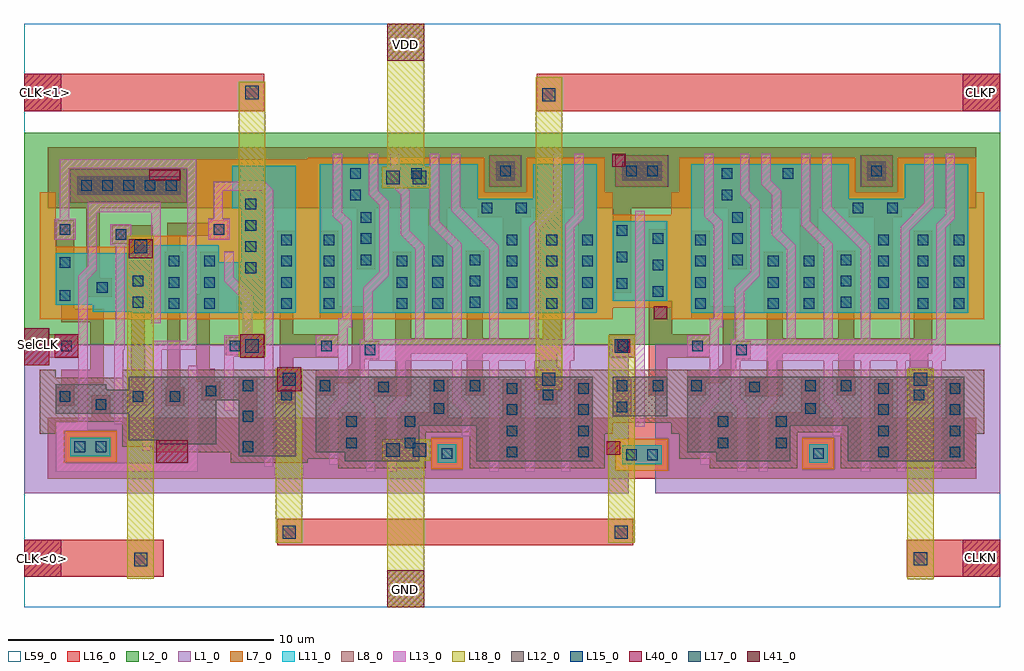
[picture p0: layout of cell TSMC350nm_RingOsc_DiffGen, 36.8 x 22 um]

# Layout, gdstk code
import gdstk
lib = gdstk.Library(unit=1e-6, precision=1e-09)
def R(c, l, rs):  # rectangles x0, y0, x1, y1
    for r in rs: c.add(gdstk.rectangle(r[:2], r[2:], *l))
def A(c, l, x, y, w, h, nx, ny, dx, dy):  # array of equal rectangles
    R(c, l, [(x+i*dx, y+j*dy, x+i*dx+w, y+j*dy+h) for i in range(nx) for j in range(ny)])
def P(c, l, *ps):  # polygons
    for p in ps: c.add(gdstk.Polygon(p, *l))
L1_0 = (1, 0)
L2_0 = (2, 0)
L7_0 = (7, 0)
L8_0 = (8, 0)
L11_0 = (11, 0)
L12_0 = (12, 0)
L13_0 = (13, 0)
L15_0 = (15, 0)
L16_0 = (16, 0)
L17_0 = (17, 0)
L18_0 = (18, 0)
L40_0 = (40, 0)
L41_0 = (41, 0)
L59_0 = (59, 0)

buf6 = lib.new_cell('BUF6')
R(buf6, L1_0, [(-1.6,-0.55,11.4,5.05)])
R(buf6, L2_0, [(-1.6,5.05,11.4,13.05)])
R(buf6, L7_0, [(3.95,0.35,5.15,1.55)])
P(buf6, L7_0, [(-1,6),(-1,10.8),(-0.7,10.8),(-0.7,12.1),(5.95,12.1),(5.95,10.8),(7.55,10.8),(7.55,12.1),(10.5,12.1),(10.5,10.8),(10.8,10.8),(10.8,6)])
R(buf6, L8_0, [(6.15,11,7.35,12.2)])
P(buf6, L8_0, [(0.45,0.4),(0.45,0.75),(-0.7,0.75),(-0.7,1.7),(-1,1.7),(-1,4.1),(10.8,4.1),(10.8,1.7),(10.5,1.7),(10.5,0.4),(5.4,0.4),(5.4,1.75),(3.75,1.75),(3.75,0.4)])
R(buf6, L11_0, [(4.2,0.6,4.9,1.3)])
P(buf6, L11_0, [(-0.25,6.25),(-0.25,11.85),(5.7,11.85),(5.7,10.55),(7.8,10.55),(7.8,11.85),(10.2,11.85),(10.2,6.25)])
R(buf6, L12_0, [(6.4,11.25,7.1,11.95)])
P(buf6, L12_0, [(0.7,0.65),(0.7,1),(-0.4,1),(-0.4,3.85),(10.05,3.85),(10.05,0.65),(5.65,0.65),(5.65,2),(3.5,2),(3.5,0.65)])
P(buf6, L13_0, [(0.1,0.525),(0.1,2.7),(0.45,3.05),(0.45,4.6),(-0.4,4.6),(-0.4,5.4),(0.45,5.4),(0.45,6.05),(0.6,6.05),(0.6,9.55),(0.25,9.9),(0.25,12.25),(0.6,12.25),(0.6,10.05),(0.95,9.7),(0.95,5.7),(0.8,5.7),(0.8,2.9),(0.45,2.55),(0.45,0.525)],
  [(1.5,0.25),(1.5,2.65),(1.25,2.9),(1.25,5.25),(1.4,5.25),(1.4,7.2),(2,7.8),(2,10.3),(1.6,10.7),(1.6,12.25),(1.95,12.25),(1.95,10.85),(2.35,10.45),(2.35,7.65),(1.75,7.05),(1.75,5.25),(3.35,5.25),(3.35,8.65),(2.8,9.2),(2.8,10.7),(2.4,11.1),(2.4,12.25),(2.75,12.25),(2.75,11.25),(3.15,10.85),(3.15,9.35),(3.7,8.8),(3.7,5.25),(4.75,5.25),(4.75,8.7),(3.9,9.55),(3.9,12.25),(4.25,12.25),(4.25,9.7),(5.1,8.85),(5.1,5.25),(6.15,5.25),(6.15,8.65),(4.7,10.1),(4.7,12.25),(5.05,12.25),(5.05,10.25),(6.5,8.8),(6.5,5.25),(7.65,5.25),(7.65,9.5),(8.55,10.4),(8.55,12.25),(8.9,12.25),(8.9,10.25),(8,9.35),(8,5.25),(9,5.25),(9,9.6),(9.35,9.95),(9.35,12.25),(9.7,12.25),(9.7,9.8),(9.35,9.45),(9.35,4.45),(9.2,4.45),(9.2,0.25),(8.85,0.25),(8.85,4.45),(7.85,4.45),(7.85,0.25),(7.5,0.25),(7.5,4.45),(6.5,4.45),(6.5,0.25),(6.15,0.25),(6.15,4.45),(5.1,4.45),(5.1,3.05),(5.45,2.7),(5.45,1.6),(5.1,1.6),(5.1,2.55),(4.75,2.9),(4.75,4.45),(3,4.45),(3,2.9),(2.65,2.55),(2.65,0.25),(2.3,0.25),(2.3,2.7),(2.65,3.05),(2.65,4.45),(1.6,4.45),(1.6,3.05),(1.85,2.8),(1.85,0.25)])
A(buf6, L15_0, 6.8, 0.8, 0.4, 0.4, 1, 4, 0, 0.8)
A(buf6, L15_0, 9.5, 0.8, 0.4, 0.4, 1, 4, 0, 0.8)
A(buf6, L15_0, -0.1, 6.4, 0.4, 0.4, 1, 4, 0, 0.8)
A(buf6, L15_0, 2.65, 6.4, 0.4, 0.4, 1, 3, 0, 0.8)
A(buf6, L15_0, 4, 6.4, 0.4, 0.4, 1, 3, 0, 0.8)
A(buf6, L15_0, 6.8, 6.4, 0.4, 0.4, 1, 4, 0, 0.8)
A(buf6, L15_0, 8.3, 6.4, 0.4, 0.4, 1, 4, 0, 0.8)
A(buf6, L15_0, 9.65, 6.4, 0.4, 0.4, 1, 4, 0, 0.8)
A(buf6, L15_0, 5.4, 6.45, 0.4, 0.4, 1, 3, 0, 0.8)
A(buf6, L15_0, 1.3, 8.05, 0.4, 0.4, 1, 3, 0, 0.8)
R(buf6, L15_0, [(4.35,0.75,4.75,1.15), (0.75,1.15,1.15,1.55), (2.95,1.15,3.35,1.55), (0.75,1.95,1.15,2.35), (2.95,1.95,3.35,2.35), (4.05,2.45,4.45,2.85), (8.15,2.95,8.55,3.35), (1.95,3.25,2.35,3.65), (-0.25,3.3,0.15,3.7), (4.05,3.3,4.45,3.7), (5.4,3.3,5.8,3.7), (1.45,4.65,1.85,5.05), (-0.2,4.8,0.2,5.2), (5.85,10,6.25,10.4), (7.15,10,7.55,10.4), (0.9,10.5,1.3,10.9), (0.9,11.3,1.3,11.7), (3.2,11.3,3.6,11.7), (6.55,11.4,6.95,11.8)])
R(buf6, L16_0, [(-0.45,4.55,0.45,5.45)])
P(buf6, L16_0, [(-0.4,3.15),(-0.4,4.1),(0.7,4.1),(0.95,4.35),(0.95,6),(-0.25,6),(-0.25,9.35),(0.45,9.35),(0.45,6.5),(1.45,6.5),(1.45,5.2),(2,5.2),(2,4.5),(1.45,4.5),(1.45,4.1),(0.95,3.6),(0.3,3.6),(0.3,3.15)],
  [(1.8,3.1),(1.8,3.8),(2.6,3.8),(2.6,6.25),(2.5,6.25),(2.5,8.55),(3.2,8.55),(3.2,5.3),(5.3,5.3),(5.3,6.3),(5.25,6.3),(5.25,8.6),(5.95,8.6),(5.95,6.3),(5.9,6.3),(5.9,5.3),(8.15,5.3),(8.15,9.35),(8.85,9.35),(8.85,4.7),(8.7,4.7),(8.7,4.2),(8.85,4.2),(8.85,3.3),(8.7,3.3),(8.7,2.8),(8,2.8),(8,3.3),(7.95,3.3),(7.95,4.2),(8,4.2),(8,4.7),(5.9,4.7),(5.9,3.85),(5.95,3.85),(5.95,3.15),(5.25,3.15),(5.25,3.85),(5.3,3.85),(5.3,4.7),(3.2,4.7),(3.2,3.1)],
  [(3.85,6.25),(3.85,10.2),(1.85,10.2),(1.85,7.9),(1.15,7.9),(1.15,10.2),(-0.7,10.2),(-0.7,12.5),(10.5,12.5),(10.5,10.2),(10.2,10.2),(10.2,6.25),(9.5,6.25),(9.5,10.2),(7.7,10.2),(7.7,9.85),(7.35,9.85),(7.35,6.25),(6.65,6.25),(6.65,9.85),(5.7,9.85),(5.7,10.2),(4.55,10.2),(4.55,6.25)],
  [(-0.7,0),(-0.7,2.3),(0.6,2.3),(0.6,2.5),(1.3,2.5),(1.3,2.3),(2.8,2.3),(2.8,2.5),(3.9,2.5),(3.9,3.85),(4.6,3.85),(4.6,2.3),(6.65,2.3),(6.65,3.75),(7.35,3.75),(7.35,2.3),(9.35,2.3),(9.35,3.75),(10.05,3.75),(10.05,2.3),(10.5,2.3),(10.5,0)])
buf6.add(gdstk.Label('BUF6', (-0.7,0), layer=62, texttype=0))
buf6.add(gdstk.Label('Z', (8.4,3.75), layer=40, texttype=0))
buf6.add(gdstk.Label('VDD', (0.075,11.375), layer=40, texttype=0))
buf6.add(gdstk.Label('VSS', (0.125,1.025), layer=40, texttype=0))
buf6.add(gdstk.Label('I', (0,5), layer=40, texttype=0))
buf6.add(gdstk.Label('& SerialNumber 000000', (0,0), layer=11, texttype=0))
buf6.add(gdstk.Label('& Distributor Vanguard', (0,0), layer=11, texttype=0))
buf6.add(gdstk.Label('& Metric 140.0', (0,0), layer=11, texttype=0))
buf6.add(gdstk.Label('& Version 400c', (0,0), layer=11, texttype=0))
buf6.add(gdstk.Label('& Product tcb773p', (0,0), layer=11, texttype=0))
buf6.add(gdstk.Label('& Vendor Taiwan Semiconductor Manufacturing Corp.', (0,0), layer=11, texttype=0))

inv0 = lib.new_cell('INV0')
R(inv0, L2_0, [(-1.6,5.05,3,13.05)])
R(inv0, L7_0, [(-0.3,0.3,1.7,1.5)])
P(inv0, L7_0, [(-1,6),(-1,10.8),(-0.4,10.8),(-0.4,9.95),(1.8,9.95),(1.8,10.8),(2.4,10.8),(2.4,6),(1.8,6),(1.8,6.45),(-0.4,6.45),(-0.4,6)])
R(inv0, L8_0, [(-0.3,11,1.7,12.2)])
P(inv0, L8_0, [(-1,1.7),(-1,4.1),(2.4,4.1),(2.4,1.7),(1.8,1.7),(1.8,2.1),(-0.4,2.1),(-0.4,1.7)])
R(inv0, L11_0, [(-0.05,0.55,1.45,1.25), (-0.4,6.7,1.65,9.7)])
R(inv0, L12_0, [(-0.4,2.35,1.65,3.85), (-0.05,11.25,1.45,11.95)])
P(inv0, L13_0, [(0.45,1.95),(0.45,4.6),(-0.4,4.6),(-0.4,5.4),(0.45,5.4),(0.45,10.1),(0.8,10.1),(0.8,1.95)])
A(inv0, L15_0, 1.1, 6.85, 0.4, 0.4, 1, 3, 0, 1)
A(inv0, L15_0, -0.25, 7.15, 0.4, 0.4, 1, 3, 0, 1)
R(inv0, L15_0, [(0.1,0.7,0.5,1.1), (0.9,0.7,1.3,1.1), (-0.25,2.5,0.15,2.9), (-0.25,3.3,0.15,3.7), (1.1,3.3,1.5,3.7), (-0.2,4.8,0.2,5.2), (0.1,11.4,0.5,11.8), (0.9,11.4,1.3,11.8)])
R(inv0, L16_0, [(-0.45,4.55,0.45,5.45)])
P(inv0, L16_0, [(0.95,3.15),(0.95,9.4),(1.65,9.4),(1.65,6.7),(1.85,6.7),(1.85,5.8),(1.65,5.8),(1.65,3.15)],
  [(-0.4,7),(-0.4,10.2),(-0.7,10.2),(-0.7,12.5),(2.1,12.5),(2.1,10.2),(0.3,10.2),(0.3,7)],
  [(-0.7,0),(-0.7,2.3),(-0.4,2.3),(-0.4,3.85),(0.3,3.85),(0.3,2.3),(2.1,2.3),(2.1,0)])
R(inv0, L40_0, [(-0.625,0.9,-0.125,1.4), (-0.25,4.75,0.25,5.25), (1.15,6,1.65,6.5), (-0.425,11.75,0.075,12.25)])
inv0.add(gdstk.Label('VSS', (-0.375,1.15), layer=40, texttype=0))
inv0.add(gdstk.Label('VDD', (-0.175,12), layer=40, texttype=0))
inv0.add(gdstk.Label('I', (0,5), layer=40, texttype=0))
inv0.add(gdstk.Label('ZN', (1.4,6.25), layer=40, texttype=0))

mux2d1 = lib.new_cell('MUX2D1')
R(mux2d1, L1_0, [(-1.6,-0.55,10,5.05)])
R(mux2d1, L2_0, [(-1.6,5.05,10,13.05)])
R(mux2d1, L7_0, [(-0.1,0.6,1.9,1.8)])
P(mux2d1, L7_0, [(-1,6),(-1,10.8),(-0.4,10.8),(-0.4,8.75),(2.4,8.75),(2.4,9.15),(4.9,9.15),(4.9,12.05),(9.1,12.05),(9.1,10.8),(9.4,10.8),(9.4,6)])
R(mux2d1, L8_0, [(0.1,10.4,4.55,11.7)])
P(mux2d1, L8_0, [(-1,1.7),(-1,4.1),(-0.4,4.1),(-0.4,3.8),(2.1,3.8),(2.1,4.1),(9.4,4.1),(9.4,1.7),(9.1,1.7),(9.1,0.6),(6.2,0.6),(6.2,1),(3.25,1),(3.25,1.2),(2.1,1.2),(2.1,2.15),(-0.4,2.15),(-0.4,1.7)])
R(mux2d1, L11_0, [(0.15,0.85,1.65,1.55)])
P(mux2d1, L11_0, [(2.5,6.25),(2.5,6.3),(1,6.3),(1,6.55),(-0.4,6.55),(-0.4,8.5),(2.65,8.5),(2.65,8.8),(5.75,8.8),(5.75,8.15),(6.6,8.15),(6.6,10.2),(6.25,10.2),(6.25,11.8),(8.65,11.8),(8.65,6.25)])
R(mux2d1, L12_0, [(0.4,10.7,4.3,11.4)])
P(mux2d1, L12_0, [(-0.4,2.45),(-0.4,3.55),(1.5,3.55),(1.5,3.35),(2.35,3.35),(2.35,3.85),(8.65,3.85),(8.65,0.85),(6.5,0.85),(6.5,2.95),(5.65,2.95),(5.65,1.3),(3.5,1.3),(3.5,1.45),(2.35,1.45),(2.35,2.45)])
P(mux2d1, L13_0, [(1.8,2.05),(1.8,5.2),(1.85,5.2),(1.85,8.8),(1.65,8.8),(1.65,9.6),(2.45,9.6),(2.45,8.8),(2.2,8.8),(2.2,4.85),(2.15,4.85),(2.15,2.05)],
  [(-0.4,0.25),(-0.4,2.15),(0.45,2.15),(0.45,4.6),(-0.4,4.6),(-0.4,5.4),(0.45,5.4),(0.45,7.65),(0.8,8),(0.8,10.4),(3.55,10.4),(3.55,5.85),(3.2,5.85),(3.2,10.05),(1.15,10.05),(1.15,7.85),(0.8,7.5),(0.8,1.8),(-0.05,1.8),(-0.05,0.6),(4.6,0.6),(4.6,4.25),(4.95,4.25),(4.95,0.25)],
  [(5.95,2.55),(5.95,5.4),(6.65,5.4),(6.65,6.75),(5.95,7.45),(5.95,8.55),(6.3,8.55),(6.3,7.6),(7,6.9),(7,4.6),(6.3,4.6),(6.3,2.55)],
  [(7.45,0.45),(7.45,10.75),(7.35,10.85),(5.9,10.85),(5.9,9.8),(6.15,9.8),(6.15,9),(5.35,9),(5.35,9.8),(5.55,9.8),(5.55,11.2),(7.5,11.2),(7.8,10.9),(7.8,0.45)],
  [(2.85,1.05),(2.85,2.3),(3.25,2.7),(3.25,5.2),(4.55,5.2),(4.55,11.7),(0.1,11.7),(0.1,9.8),(0.35,9.8),(0.35,9),(-0.45,9),(-0.45,9.8),(-0.25,9.8),(-0.25,12.05),(4.9,12.05),(4.9,4.85),(3.6,4.85),(3.6,2.55),(3.2,2.15),(3.2,1.05)])
A(mux2d1, L15_0, 6.65, 1, 0.4, 0.4, 1, 3, 0, 1.15)
A(mux2d1, L15_0, 3.85, 6.4, 0.4, 0.4, 1, 3, 0, 0.8)
A(mux2d1, L15_0, 5.2, 6.4, 0.4, 0.4, 1, 3, 0, 0.8)
A(mux2d1, L15_0, 8.1, 6.4, 0.4, 0.4, 1, 4, 0, 0.8)
A(mux2d1, L15_0, -0.25, 6.7, 0.4, 0.4, 1, 3, 0, 1.25)
A(mux2d1, L15_0, 6.75, 7.75, 0.4, 0.4, 1, 4, 0, 0.8)
A(mux2d1, L15_0, 0.55, 10.85, 0.4, 0.4, 5, 1, 0.8, 0)
R(mux2d1, L15_0, [(0.3,1,0.7,1.4), (1.1,1,1.5,1.4), (1.1,2.6,1.5,3), (-0.25,2.9,0.15,3.3), (2.5,2.9,2.9,3.3), (3.9,2.9,4.3,3.3), (8.1,2.95,8.5,3.35), (5.25,3.1,5.65,3.5), (-0.2,4.8,0.2,5.2), (6.15,4.8,6.55,5.2), (2.5,6.45,2.9,6.85), (1.15,7,1.55,7.4), (2.5,7.25,2.9,7.65), (1.85,9,2.25,9.4), (5.55,9.2,5.95,9.6)])
R(mux2d1, L16_0, [(-0.45,4.55,0.45,5.45)])
P(mux2d1, L16_0, [(6.55,4.55),(6.55,4.65),(6,4.65),(6,5.35),(6.55,5.35),(6.55,5.45),(7.45,5.45),(7.45,4.55)],
  [(2.35,8.3),(2.35,8.85),(1.7,8.85),(1.7,9.55),(3.25,9.55),(3.25,8.3)],
  [(7.95,2.8),(7.95,4.2),(8.05,4.2),(8.05,6.25),(7.95,6.25),(7.95,9.35),(8.65,9.35),(8.65,6.25),(8.55,6.25),(8.55,4.2),(8.85,4.2),(8.85,3.3),(8.65,3.3),(8.65,2.8)],
  [(0.75,6.85),(0.75,10.2),(-0.7,10.2),(-0.7,12.5),(9.1,12.5),(9.1,10.2),(7.3,10.2),(7.3,7.6),(6.6,7.6),(6.6,10.2),(1.25,10.2),(1.25,7.55),(1.7,7.55),(1.7,6.85)],
  [(-0.7,0),(-0.7,2.3),(0.95,2.3),(0.95,3.15),(1.65,3.15),(1.65,2.3),(6.5,2.3),(6.5,3.85),(7.2,3.85),(7.2,2.3),(9.1,2.3),(9.1,0)],
  [(2.35,2.75),(2.35,3.45),(2.45,3.45),(2.45,6.3),(2.35,6.3),(2.35,7.8),(3.05,7.8),(3.05,6.3),(2.95,6.3),(2.95,3.45),(3.05,3.45),(3.05,2.75)],
  [(5.1,2.95),(5.1,3.65),(4.9,3.65),(4.9,6.95),(5.05,6.95),(5.05,8.55),(5.75,8.55),(5.75,6.25),(5.4,6.25),(5.4,4.15),(5.6,4.15),(5.6,3.65),(5.8,3.65),(5.8,2.95)],
  [(-0.4,2.75),(-0.4,3.45),(-0.2,3.45),(-0.2,4.1),(0.9,4.1),(0.9,5.9),(-0.2,5.9),(-0.2,6.55),(-0.4,6.55),(-0.4,9.75),(0.3,9.75),(0.3,6.4),(1.4,6.4),(1.4,3.6),(0.3,3.6),(0.3,2.75)],
  [(3.75,2.75),(3.75,3.45),(3.8,3.45),(3.8,6.25),(3.7,6.25),(3.7,8.55),(3.8,8.55),(3.8,9.65),(5.4,9.65),(5.4,9.75),(6.1,9.75),(6.1,9.05),(5.4,9.05),(5.4,9.15),(4.3,9.15),(4.3,8.55),(4.4,8.55),(4.4,6.25),(4.3,6.25),(4.3,3.45),(4.45,3.45),(4.45,2.75)])
R(mux2d1, L40_0, [(3.39,0.59,4.57,1.44), (7.95,3.3,8.85,4.2), (-0.45,4.55,0.45,5.45), (6.55,4.55,7.45,5.45), (2.35,8.3,3.25,9.02), (3.12,11.25,4.3,11.64)])
mux2d1.add(gdstk.Label('MUX2D1', (-0.7,0), layer=62, texttype=0))
mux2d1.add(gdstk.Label('Z', (8.45,3.77), layer=40, texttype=0))
mux2d1.add(gdstk.Label('I1', (7.07,4.98), layer=40, texttype=0))
mux2d1.add(gdstk.Label('IO', (2.82,8.6), layer=40, texttype=0))
mux2d1.add(gdstk.Label('VSS', (3.87,1.01), layer=40, texttype=0))
mux2d1.add(gdstk.Label('VDD', (3.72,11.4), layer=40, texttype=0))
mux2d1.add(gdstk.Label('S', (-0.01,4.97), layer=40, texttype=0))
mux2d1.add(gdstk.Label('& Metric 122.5', (0,0), layer=11, texttype=0))
mux2d1.add(gdstk.Label('& Version 400c', (0,0), layer=11, texttype=0))
mux2d1.add(gdstk.Label('& Product tcb773p', (0,0), layer=11, texttype=0))
mux2d1.add(gdstk.Label('& Vendor Taiwan Semiconductor Manufacturing Corp.', (0,0), layer=11, texttype=0))
mux2d1.add(gdstk.Label('& SerialNumber 000000', (0,0), layer=11, texttype=0))
mux2d1.add(gdstk.Label('& Distributor Vanguard', (0,0), layer=11, texttype=0))

m2_m1_cdns_760315425460 = lib.new_cell('M2_M1_CDNS_760315425460')
R(m2_m1_cdns_760315425460, L16_0, [(-0.45,-0.45,0.45,0.45)])
R(m2_m1_cdns_760315425460, L17_0, [(-0.25,-0.25,0.25,0.25)])
R(m2_m1_cdns_760315425460, L18_0, [(-0.4,-0.4,0.4,0.4)])

m2_m1_cdns_760315425461 = lib.new_cell('M2_M1_CDNS_760315425461')
R(m2_m1_cdns_760315425461, L16_0, [(-0.95,-0.45,0.95,0.45)])
R(m2_m1_cdns_760315425461, L17_0, [(-0.75,-0.25,-0.25,0.25), (0.25,-0.25,0.75,0.25)])
R(m2_m1_cdns_760315425461, L18_0, [(-0.9,-0.4,0.9,0.4)])

tsmc350nm_ringosc_diffge = lib.new_cell('TSMC350nm_RingOsc_DiffGen')
R(tsmc350nm_ringosc_diffge, L16_0, [(0,1.15,1.4,2.55), (33.28,1.15,36.79,2.55), (35.4,1.15,36.8,2.55), (0,9.12,0.95,10.52), (0,9.4,1.15,10.3), (10.09,9.4,10.95,10.3), (24.03,9.4,24.95,10.3), (24.25,10.3,24.45,10.66), (0,18.71,1.4,20.11), (35.4,18.71,36.8,20.11)])
R(tsmc350nm_ringosc_diffge, L18_0, [(13.69,0,15.09,1.4), (13.69,20.6,15.09,22)])
R(tsmc350nm_ringosc_diffge, L40_0, [(0,1.15,1.4,2.55), (35.4,1.15,36.8,2.55), (0,9.12,0.95,10.52), (0,18.71,1.4,20.11), (35.4,18.71,36.8,20.11)])
R(tsmc350nm_ringosc_diffge, L41_0, [(13.69,0,15.09,1.4), (13.69,20.6,15.09,22)])
R(tsmc350nm_ringosc_diffge, L59_0, [(0,0,36.8,22)])
tsmc350nm_ringosc_diffge.add(gdstk.FlexPath([(19.79,19.41),(36.72,19.41)], 1.4, ends=(0.45, 0), simple_path=True, layer=16, datatype=0))  # L16_0
tsmc350nm_ringosc_diffge.add(gdstk.FlexPath([(10,2.83),(22.52,2.83)], 1, ends=(0.45, 0.45), simple_path=True, layer=16, datatype=0))  # L16_0
tsmc350nm_ringosc_diffge.add(gdstk.FlexPath([(4.81,1.85),(0,1.85)], 1.4, ends=(0.45, 0), simple_path=True, layer=16, datatype=0))  # L16_0
tsmc350nm_ringosc_diffge.add(gdstk.FlexPath([(8.6,19.41),(0,19.41)], 1.4, ends=(0.45, 0), simple_path=True, layer=16, datatype=0))  # L16_0
tsmc350nm_ringosc_diffge.add(gdstk.FlexPath([(14.39,0.4),(14.39,6.27)], 1.4, ends=(0.4, 0), simple_path=True, layer=18, datatype=0))  # L18_0
tsmc350nm_ringosc_diffge.add(gdstk.FlexPath([(14.39,16.2),(14.39,22)], 1.4, ends=(0.4, 0), simple_path=True, layer=18, datatype=0))  # L18_0
tsmc350nm_ringosc_diffge.add(gdstk.FlexPath([(33.8,8.6),(33.8,1.46)], 1, ends=(0.4, 0.4), simple_path=True, layer=18, datatype=0))  # L18_0
tsmc350nm_ringosc_diffge.add(gdstk.FlexPath([(19.79,8.6),(19.79,19.99)], 1, ends=(0.4, 0), simple_path=True, layer=18, datatype=0))  # L18_0
tsmc350nm_ringosc_diffge.add(gdstk.FlexPath([(22.52,2.83),(22.52,9.85)], 1, ends=(0.4, 0.4), simple_path=True, layer=18, datatype=0))  # L18_0
tsmc350nm_ringosc_diffge.add(gdstk.FlexPath([(10,8.6),(10,2.83)], 1, ends=(0.4, 0.4), simple_path=True, layer=18, datatype=0))  # L18_0
tsmc350nm_ringosc_diffge.add(gdstk.FlexPath([(4.39,14.01),(4.39,1.08)], 1, ends="flush", simple_path=True, layer=18, datatype=0))  # L18_0
tsmc350nm_ringosc_diffge.add(gdstk.FlexPath([(8.6,9.85),(8.6,19.41)], 1, ends=(0.4, 0.4), simple_path=True, layer=18, datatype=0))  # L18_0
tsmc350nm_ringosc_diffge.add(gdstk.Reference(buf6, (25.4,4.85)))
tsmc350nm_ringosc_diffge.add(gdstk.Reference(buf6, (11.4,4.85)))
tsmc350nm_ringosc_diffge.add(gdstk.Reference(inv0, (22.6,4.85)))
tsmc350nm_ringosc_diffge.add(gdstk.Reference(mux2d1, (1.6,4.85)))
tsmc350nm_ringosc_diffge.add(gdstk.Reference(m2_m1_cdns_760315425460, (33.8,1.83)))
tsmc350nm_ringosc_diffge.add(gdstk.Reference(m2_m1_cdns_760315425460, (33.8,8.6)))
tsmc350nm_ringosc_diffge.add(gdstk.Reference(m2_m1_cdns_760315425460, (19.79,19.32)))
tsmc350nm_ringosc_diffge.add(gdstk.Reference(m2_m1_cdns_760315425460, (19.79,8.6)))
tsmc350nm_ringosc_diffge.add(gdstk.Reference(m2_m1_cdns_760315425460, (22.52,9.85)))
tsmc350nm_ringosc_diffge.add(gdstk.Reference(m2_m1_cdns_760315425460, (22.52,2.83)))
tsmc350nm_ringosc_diffge.add(gdstk.Reference(m2_m1_cdns_760315425460, (10,2.83)))
tsmc350nm_ringosc_diffge.add(gdstk.Reference(m2_m1_cdns_760315425460, (4.4,13.6)))
tsmc350nm_ringosc_diffge.add(gdstk.Reference(m2_m1_cdns_760315425460, (4.4,1.8)))
tsmc350nm_ringosc_diffge.add(gdstk.Reference(m2_m1_cdns_760315425460, (8.6,19.41)))
tsmc350nm_ringosc_diffge.add(gdstk.Reference(m2_m1_cdns_760315425460, (10,8.6)))
tsmc350nm_ringosc_diffge.add(gdstk.Reference(m2_m1_cdns_760315425460, (8.6,9.85)))
tsmc350nm_ringosc_diffge.add(gdstk.Reference(m2_m1_cdns_760315425461, (14.41,5.93)))
tsmc350nm_ringosc_diffge.add(gdstk.Reference(m2_m1_cdns_760315425461, (14.41,16.2)))
tsmc350nm_ringosc_diffge.add(gdstk.Label('SelCLK', (0.54,9.89), layer=40, texttype=0))
tsmc350nm_ringosc_diffge.add(gdstk.Label('CLKN', (36.08,1.89), layer=40, texttype=0))
tsmc350nm_ringosc_diffge.add(gdstk.Label('CLKP', (36.05,19.39), layer=40, texttype=0))
tsmc350nm_ringosc_diffge.add(gdstk.Label('CLK<0>', (0.71,1.84), layer=40, texttype=0))
tsmc350nm_ringosc_diffge.add(gdstk.Label('CLK<1>', (0.8,19.42), layer=40, texttype=0))
tsmc350nm_ringosc_diffge.add(gdstk.Label('GND', (14.39,0.68), layer=41, texttype=0))
tsmc350nm_ringosc_diffge.add(gdstk.Label('VDD', (14.4,21.23), layer=41, texttype=0))

lib.write_gds('TSMC350nm_RingOsc_DiffGen.gds')
